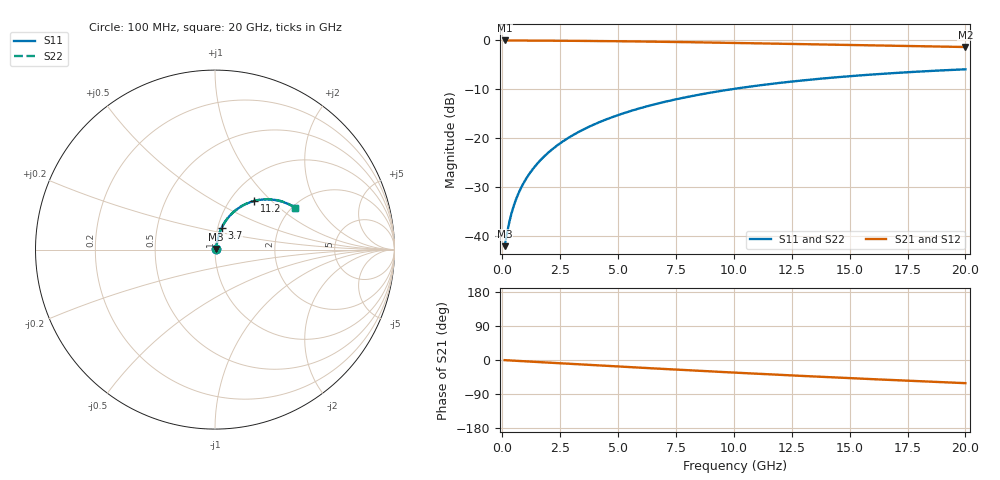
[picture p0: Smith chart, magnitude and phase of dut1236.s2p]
! Touchstone file exported from HFSS 2026.1.0
!  File:  C:/ffzhzh/LocalFiles/Ansys_Project_Files/temp_train_TMRDL_1236_1783163584_51560.aedt
!  Generated:  07:14:34 PM Jul  4, 2026
!  Design:  TMRDL
!  Project:  temp_train_TMRDL_1236_1783163584_51560
! Variables:
!  h_bsmrdl = 2um
!  h_ox = 20um
!  h_rdl = 5um
!  h_sub = 80um
!  h_tmrdl = 2.06um
!  h_tsv = 80um
!  h_via = 3um
!  l_bsmrdl = 300um
!  l_sub = 1348.39um
!  l_tmrdl = 948.39um
!  m_sub = 200um
!  pitch = 53.29um
!  r_tsv = 6um
!  s_tmrdl = 10um
!  w_bsmrdl = 18um
!  w_sub = 500um
!  w_tmrdl = 25.13um
!  x_tsv_center1 = 960.955um
!  x_tsv_center2 = 1278.955um
!  x_tsv_center3 = 2252.475um
!  x_tsv_center4 = 2570.475um
!  x_tsv_center5 = 3543.995um
!  x_tsv_center6 = 3861.995um
# GHz S MA R 50.000000
! Terminal data exported
! Port[1] = TM_RDL1_1_T1
! Port[2] = TM_RDL1_1_T2
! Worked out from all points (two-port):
!   200 points, 100 MHz to 20 GHz, reference 50 ohm
!   highest |S21| = -0.06 dB at 100 MHz (marker M1); lowest = -1.4 dB at 20 GHz (marker M2)
!   |S21| within 3 dB of the highest: start of sweep to end of sweep
!   lowest |S11| = -42.2 dB at 100 MHz (marker M3), VSWR 1.02, Z = 50.7 + j0.395 ohm
!   |S11| at or under -10 dB: start of sweep to 9.963 GHz
!   |S22| runs from -42.2 to -6.0 dB; largest |S21 - S12| = 8.5e-14
!   S11 on the Smith chart (normalised r, x): 100 MHz: 1.01, +0.01; 3.7 GHz: 1.04, +0.26; 11.2 GHz: 1.28, +0.79; 20 GHz: 2.07, +1.29
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0.1  0.007804 29.9  0.9933 -0.4  0.9933 -0.4  0.007804 29.9
! Gamma 0 0 0 0
! Port Impedance 50 0 50 0
0.3  0.01363 57.1  0.9927 -1.1  0.9927 -1.1  0.01363 57.1
0.4  0.01698 62.5  0.9924 -1.5  0.9924 -1.5  0.01698 62.5
0.5  0.02037 65.9  0.9921 -1.8  0.9921 -1.8  0.02037 65.9
0.6  0.02375 68.2  0.9918 -2.2  0.9918 -2.2  0.02375 68.2
0.8  0.03048 71.3  0.9912 -2.8  0.9912 -2.8  0.03048 71.3
1.1  0.04059 73.7  0.9905 -3.9  0.9905 -3.9  0.04059 73.8
1.3  0.04736 74.7  0.9901 -4.5  0.9901 -4.5  0.04736 74.7
1.6  0.05754 75.4  0.9894 -5.6  0.9894 -5.6  0.05754 75.4
2.1  0.07455 75.6  0.9881 -7.3  0.9881 -7.3  0.07455 75.6
2.7  0.09493 75.0  0.9862 -9.3  0.9862 -9.3  0.09492 75.0
3.5  0.1219 73.4  0.983 -12.1  0.983 -12.1  0.1219 73.5
3.7  0.1285 73.0  0.9821 -12.7  0.9821 -12.7  0.1285 73.0
4.4  0.1517 71.2  0.9787 -15.1  0.9787 -15.1  0.1517 71.2
5.1  0.1744 69.3  0.9748 -17.4  0.9748 -17.4  0.1744 69.3
6.8  0.2274 64.3  0.9635 -23.0  0.9635 -23.0  0.2273 64.4
8.3  0.2712 59.8  0.9518 -27.9  0.9518 -27.9  0.2712 59.9
10.1  0.3198 54.4  0.9363 -33.5  0.9363 -33.5  0.3197 54.6
11.2  0.3471 51.2  0.9264 -36.8  0.9264 -36.8  0.3471 51.4
13.4  0.3965 44.9  0.9061 -43.3  0.9061 -43.3  0.3964 45.1
16.7  0.4573 35.9  0.8768 -52.5  0.8768 -52.5  0.4573 36.1
20  0.5036 27.4  0.8512 -61.1  0.8512 -61.1  0.5034 27.7
